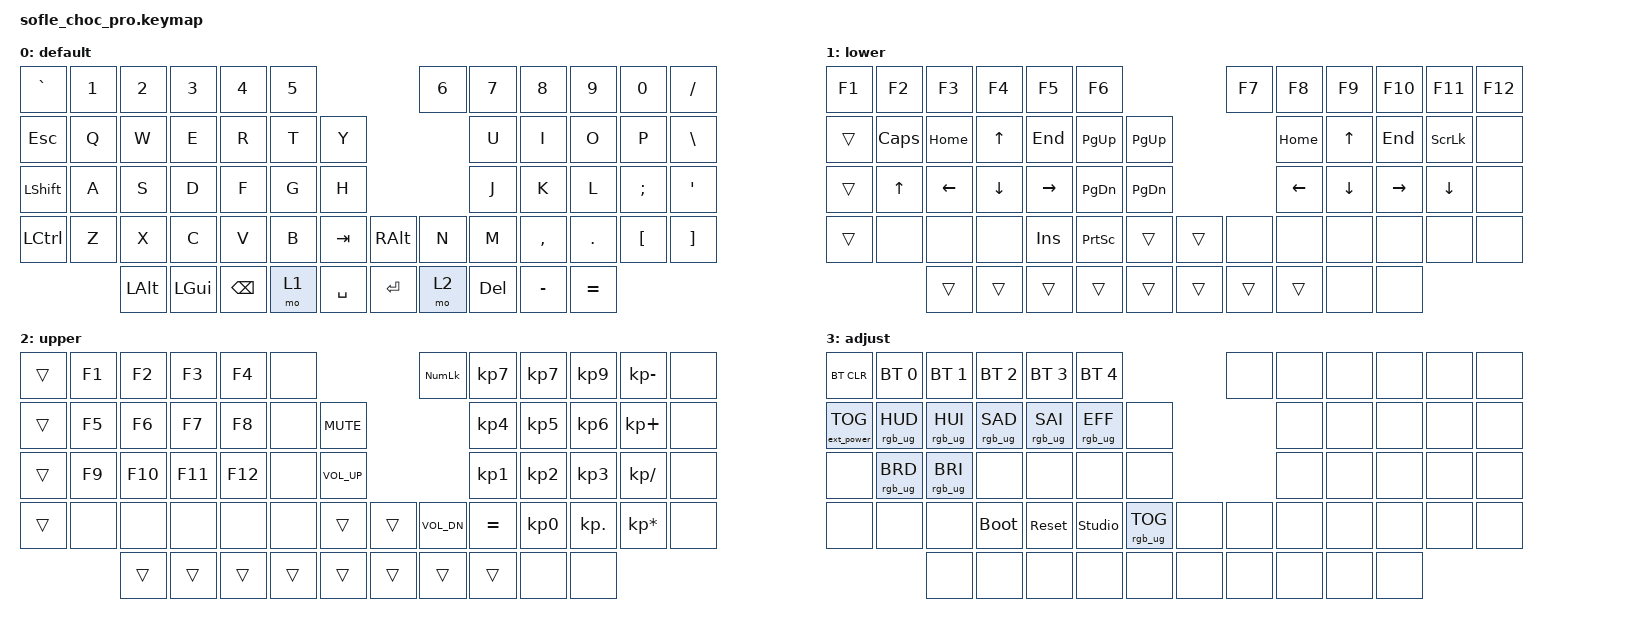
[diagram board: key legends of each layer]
/*
* Copyright (c) 2020 The ZMK Contributors
*
* SPDX-License-Identifier: MIT
*/

#include <behaviors.dtsi>
#include <dt-bindings/zmk/bt.h>
#include <dt-bindings/zmk/ext_power.h>
#include <dt-bindings/zmk/keys.h>
#include <dt-bindings/zmk/rgb.h>

#define BASE 0
#define LOWER 1
#define RAISE 2
#define ADJUST 3

/ {
    // Activate ADJUST layer by pressing raise and lower

    conditional_layers {
        compatible = "zmk,conditional-layers";

        adjust_layer {
            if-layers = <1 2>;
            then-layer = <3>;
        };
    };

    keymap {
        compatible = "zmk,keymap";

        default_layer {
            display-name = "default";

            // ------------------------------------------------------------------------------------------------------------
            // |   `   |  1  |  2  |  3   |  4   |  5   |                   |  6   |  7    |  8    |  9   |   0   |   `   |
            // |  ESC  |  Q  |  W  |  E   |  R   |  T   |                   |  Y   |  U    |  I    |  O   |   P   | BKSPC |
            // |  TAB  |  A  |  S  |  D   |  F   |  G   |                   |  H   |  J    |  K    |  L   |   ;   |   '   |
            // | SHIFT |  Z  |  X  |  C   |  V   |  B   |  MUTE  |  | PLAY  |  N   |  M    |  ,    |  .   |   /   | SHIFT |
            //               | GUI | ALT  | CTRL | LOWER|  ENTER |  | SPACE | RAISE| CTRL  | ALT   | GUI  |

            bindings = <
&kp GRAVE         &kp N1  &kp N2    &kp N3        &kp N4         &kp N5                            &kp N6  &kp N7      &kp N8     &kp N9     &kp N0            &kp SLASH
&kp ESCAPE        &kp Q   &kp W     &kp E         &kp R          &kp T   &kp Y                             &kp U       &kp I      &kp O      &kp P             &kp BACKSLASH
&kp LEFT_SHIFT    &kp A   &kp S     &kp D         &kp F          &kp G   &kp H                             &kp J       &kp K      &kp L      &kp SEMI          &kp SQT
&kp LEFT_CONTROL  &kp Z   &kp X     &kp C         &kp V          &kp B   &kp TAB    &kp RIGHT_ALT  &kp N   &kp M       &kp COMMA  &kp DOT    &kp LEFT_BRACKET  &kp RIGHT_BRACKET
                          &kp LALT  &kp LEFT_GUI  &kp BACKSPACE  &mo 1   &kp SPACE  &kp ENTER      &mo 2   &kp DELETE  &kp MINUS  &kp EQUAL
            >;
        };

        lower_layer {
            bindings = <
&kp F1  &kp F2        &kp F3    &kp F4    &kp F5     &kp F6                                  &kp F7  &kp F8    &kp F9    &kp F10    &kp F11         &kp F12
&trans  &kp CAPSLOCK  &kp HOME  &kp UP    &kp END    &kp PAGE_UP      &kp PAGE_UP                    &kp HOME  &kp UP    &kp END    &kp SCROLLLOCK  &none
&trans  &kp UP        &kp LEFT  &kp DOWN  &kp RIGHT  &kp PAGE_DOWN    &kp PAGE_DOWN                  &kp LEFT  &kp DOWN  &kp RIGHT  &kp DOWN        &none
&trans  &none         &none     &none     &kp INS    &kp PRINTSCREEN  &trans         &trans  &none   &none     &none     &none      &none           &none
                      &trans    &trans    &trans     &trans           &trans         &trans  &trans  &trans    &none     &none
            >;

            label = "lower";
        };

        upper_layer {
            bindings = <
&trans  &kp F1  &kp F2   &kp F3   &kp F4   &none                         &kp KP_NUM    &kp KP_N7  &kp KP_N7  &kp KP_N9   &kp KP_MINUS     &none
&trans  &kp F5  &kp F6   &kp F7   &kp F8   &none   &kp K_MUTE                          &kp KP_N4  &kp KP_N5  &kp KP_N6   &kp KP_PLUS      &none
&trans  &kp F9  &kp F10  &kp F11  &kp F12  &none   &kp C_VOL_UP                        &kp KP_N1  &kp KP_N2  &kp KP_N3   &kp KP_DIVIDE    &none
&trans  &none   &none    &none    &none    &none   &trans        &trans  &kp C_VOL_DN  &kp EQUAL  &kp KP_N0  &kp KP_DOT  &kp KP_MULTIPLY  &none
                &trans   &trans   &trans   &trans  &trans        &trans  &trans        &trans     &none      &none
            >;

            label = "upper";
        };

        adjust_layer {
            // ----------------------------------------------------------------------------------------------------------------------------
            // | BTCLR  |  BT1    |  BT2    |   BT3   |   BT4   |   BT5   |                  |      |      |       |      |       |       |
            // | EXTPWR | RGB_HUD | RGB_HUI | RGB_SAD | RGB_SAI | RGB_EFF |                  |      |      |       |      |       |       |
            // |        | RGB_BRD | RGB_BRI |         |         |         |                  |      |      |       |      |       |       |
            // |        |         |         |         |         |         | RGB_TOG | |      |      |      |       |      |       |       |
            //                    |         |         |         |         |         | |      |      |      |       |      |

            display-name = "adjust";
            bindings = <
&bt BT_CLR         &bt BT_SEL 0     &bt BT_SEL 1     &bt BT_SEL 2     &bt BT_SEL 3     &bt BT_SEL 4                             &none  &none  &none  &none  &none  &none
&ext_power EP_TOG  &rgb_ug RGB_HUD  &rgb_ug RGB_HUI  &rgb_ug RGB_SAD  &rgb_ug RGB_SAI  &rgb_ug RGB_EFF  &none                          &none  &none  &none  &none  &none
&none              &rgb_ug RGB_BRD  &rgb_ug RGB_BRI  &none            &none            &none            &none                          &none  &none  &none  &none  &none
&none              &none            &none            &bootloader      &sys_reset       &studio_unlock   &rgb_ug RGB_TOG  &none  &none  &none  &none  &none  &none  &none
                                    &none            &none            &none            &none            &none            &none  &none  &none  &none  &none
            >;
        };
    };
};
